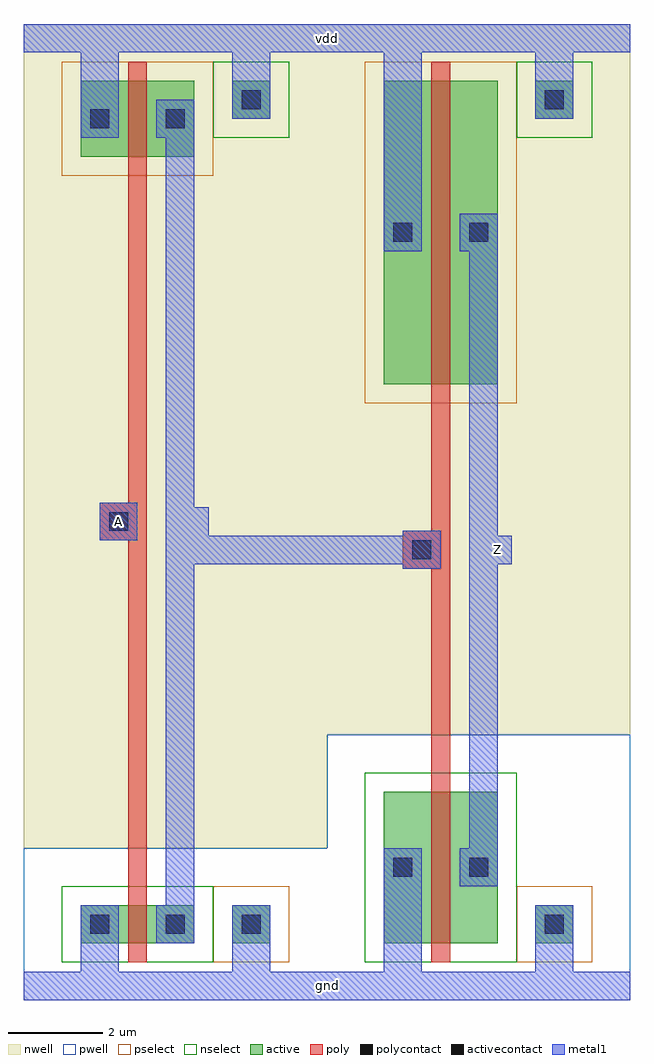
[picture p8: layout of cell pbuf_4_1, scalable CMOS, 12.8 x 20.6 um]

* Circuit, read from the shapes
.subckt pbuf_4_1 A Z gnd vdd
M1 pinv_13_1/A A gnd gnd nfet w=0.8u l=0.4u
M2 Z pinv_13_1/A gnd gnd nfet w=3.2u l=0.4u
M3 pinv_13_1/A A vdd vdd pfet w=1.6u l=0.4u
M4 Z pinv_13_1/A vdd vdd pfet w=6.4u l=0.4u
.ends

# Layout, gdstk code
import gdstk
lib = gdstk.Library(unit=1e-6, precision=1e-09)
def R(c, l, rs):  # rectangles x0, y0, x1, y1
    for r in rs: c.add(gdstk.rectangle(r[:2], r[2:], *l))
pwell = (41, 0)
nwell = (42, 0)
active = (43, 0)
pselect = (44, 0)
nselect = (45, 0)
poly = (46, 0)
polycontact = (47, 0)
activecontact = (48, 0)
metal1 = (49, 0)

active_contact_metal1_1x = lib.new_cell('active_contact_metal1_1x1_pn')
R(active_contact_metal1_1x, nwell, [(-1.2,-1.2,2,2)])
R(active_contact_metal1_1x, active, [(0,0,0.8,0.8)])
R(active_contact_metal1_1x, pselect, [(-0.4,-0.4,1.2,1.2)])
R(active_contact_metal1_1x, activecontact, [(0.2,0.2,0.6,0.6)])
R(active_contact_metal1_1x, metal1, [(0,0,0.8,0.8)])

pmos_m1_w1_6_a_p = lib.new_cell('pmos_m1_w1_6_a_p')
R(pmos_m1_w1_6_a_p, nwell, [(-1.2,-1.2,3.6,2.8)])
R(pmos_m1_w1_6_a_p, active, [(0,0,2.4,1.6)])
R(pmos_m1_w1_6_a_p, pselect, [(-0.4,-0.4,2.8,2)])
R(pmos_m1_w1_6_a_p, poly, [(1,-0.4,1.4,2), (1,-0.4,1.4,2)])
R(pmos_m1_w1_6_a_p, metal1, [(0,0.4,0.8,1.2), (1.6,0.4,2.4,1.2)])
pmos_m1_w1_6_a_p.add(gdstk.Reference(active_contact_metal1_1x, (0,0.4)))
pmos_m1_w1_6_a_p.add(gdstk.Reference(active_contact_metal1_1x, (1.6,0.4)))
pmos_m1_w1_6_a_p.add(gdstk.Label('G', (1.2,0.8), layer=46, texttype=0))
pmos_m1_w1_6_a_p.add(gdstk.Label('S', (0.4,0.8), layer=49, texttype=0))
pmos_m1_w1_6_a_p.add(gdstk.Label('D', (2,0.8), layer=49, texttype=0))

c_active_contact_metal1_1x = lib.new_cell('active_contact_metal1_1x1_np')
R(c_active_contact_metal1_1x, pwell, [(-1.2,-1.2,2,2)])
R(c_active_contact_metal1_1x, active, [(0,0,0.8,0.8)])
R(c_active_contact_metal1_1x, nselect, [(-0.4,-0.4,1.2,1.2)])
R(c_active_contact_metal1_1x, activecontact, [(0.2,0.2,0.6,0.6)])
R(c_active_contact_metal1_1x, metal1, [(0,0,0.8,0.8)])

nmos_m1_w0_8_a_p = lib.new_cell('nmos_m1_w0_8_a_p')
R(nmos_m1_w0_8_a_p, pwell, [(-1.2,-1.2,3.6,2)])
R(nmos_m1_w0_8_a_p, active, [(0,0,2.4,0.8)])
R(nmos_m1_w0_8_a_p, nselect, [(-0.4,-0.4,2.8,1.2)])
R(nmos_m1_w0_8_a_p, poly, [(1,-0.4,1.4,1.2), (1,-0.4,1.4,1.2)])
R(nmos_m1_w0_8_a_p, metal1, [(0,0,0.8,0.8), (1.6,0,2.4,0.8)])
nmos_m1_w0_8_a_p.add(gdstk.Reference(c_active_contact_metal1_1x, (0,0)))
nmos_m1_w0_8_a_p.add(gdstk.Reference(c_active_contact_metal1_1x, (1.6,0)))
nmos_m1_w0_8_a_p.add(gdstk.Label('G', (1.2,0.4), layer=46, texttype=0))
nmos_m1_w0_8_a_p.add(gdstk.Label('S', (0.4,0.4), layer=49, texttype=0))
nmos_m1_w0_8_a_p.add(gdstk.Label('D', (2,0.4), layer=49, texttype=0))

c_active_contact_metal1_1x_ = lib.new_cell('active_contact_metal1_1x1_nn')
R(c_active_contact_metal1_1x_, nwell, [(-1.2,-1.2,2,2)])
R(c_active_contact_metal1_1x_, active, [(0,0,0.8,0.8)])
R(c_active_contact_metal1_1x_, nselect, [(-0.4,-0.4,1.2,1.2)])
R(c_active_contact_metal1_1x_, activecontact, [(0.2,0.2,0.6,0.6)])
R(c_active_contact_metal1_1x_, metal1, [(0,0,0.8,0.8)])

c_active_contact_metal1_1x__ = lib.new_cell('active_contact_metal1_1x1_pp')
R(c_active_contact_metal1_1x__, pwell, [(-1.2,-1.2,2,2)])
R(c_active_contact_metal1_1x__, active, [(0,0,0.8,0.8)])
R(c_active_contact_metal1_1x__, pselect, [(-0.4,-0.4,1.2,1.2)])
R(c_active_contact_metal1_1x__, activecontact, [(0.2,0.2,0.6,0.6)])
R(c_active_contact_metal1_1x__, metal1, [(0,0,0.8,0.8)])

poly_contact_metal1_1x1 = lib.new_cell('poly_contact_metal1_1x1')
R(poly_contact_metal1_1x1, poly, [(0,0,0.8,0.8)])
R(poly_contact_metal1_1x1, polycontact, [(0.2,0.2,0.6,0.6)])
R(poly_contact_metal1_1x1, metal1, [(0,0,0.8,0.8)])

pinv_12 = lib.new_cell('pinv_12')
R(pinv_12, pwell, [(0,-0.3,6.4,2.9)])
R(pinv_12, nwell, [(0,2.9,6.4,20.3)])
R(pinv_12, poly, [(2.2,0.5,2.6,17.1), (2,9.4,2.2,10.2)])
R(pinv_12, metal1, [(0,-0.3,6.4,0.3), (1.2,-0.3,2,0.9), (4.4,0,5.2,1.3), (3,0.9,3.6,17.9), (1.6,9.4,2.4,10.2), (3.3,9.5,3.9,10.1), (1.2,17.9,2,20.3), (4.4,18.7,5.2,20), (0,19.7,6.4,20.3)])
pinv_12.add(gdstk.Reference(pmos_m1_w1_6_a_p, (1.2,17.5)))
pinv_12.add(gdstk.Reference(nmos_m1_w0_8_a_p, (1.2,0.9)))
pinv_12.add(gdstk.Reference(c_active_contact_metal1_1x_, (4.4,18.3)))
pinv_12.add(gdstk.Reference(c_active_contact_metal1_1x__, (4.4,0.9)))
pinv_12.add(gdstk.Reference(poly_contact_metal1_1x1, (1.6,9.4)))
pinv_12.add(gdstk.Label('gnd', (3.2,0), layer=49, texttype=0))
pinv_12.add(gdstk.Label('vdd', (3.2,20), layer=49, texttype=0))
pinv_12.add(gdstk.Label('A', (2,9.8), layer=49, texttype=0))
pinv_12.add(gdstk.Label('Z', (3.6,9.8), layer=49, texttype=0))

pmos_m1_w6_4_a_p = lib.new_cell('pmos_m1_w6_4_a_p')
R(pmos_m1_w6_4_a_p, nwell, [(-1.2,-1.2,3.6,7.6)])
R(pmos_m1_w6_4_a_p, active, [(0,0,2.4,6.4)])
R(pmos_m1_w6_4_a_p, pselect, [(-0.4,-0.4,2.8,6.8)])
R(pmos_m1_w6_4_a_p, poly, [(1,-0.4,1.4,6.8), (1,-0.4,1.4,6.8)])
R(pmos_m1_w6_4_a_p, metal1, [(0,2.8,0.8,3.6), (1.6,2.8,2.4,3.6)])
pmos_m1_w6_4_a_p.add(gdstk.Reference(active_contact_metal1_1x, (0,2.8)))
pmos_m1_w6_4_a_p.add(gdstk.Reference(active_contact_metal1_1x, (1.6,2.8)))
pmos_m1_w6_4_a_p.add(gdstk.Label('G', (1.2,3.2), layer=46, texttype=0))
pmos_m1_w6_4_a_p.add(gdstk.Label('S', (0.4,3.2), layer=49, texttype=0))
pmos_m1_w6_4_a_p.add(gdstk.Label('D', (2,3.2), layer=49, texttype=0))

nmos_m1_w3_2_a_p = lib.new_cell('nmos_m1_w3_2_a_p')
R(nmos_m1_w3_2_a_p, pwell, [(-1.2,-1.2,3.6,4.4)])
R(nmos_m1_w3_2_a_p, active, [(0,0,2.4,3.2)])
R(nmos_m1_w3_2_a_p, nselect, [(-0.4,-0.4,2.8,3.6)])
R(nmos_m1_w3_2_a_p, poly, [(1,-0.4,1.4,3.6), (1,-0.4,1.4,3.6)])
R(nmos_m1_w3_2_a_p, metal1, [(0,1.2,0.8,2), (1.6,1.2,2.4,2)])
nmos_m1_w3_2_a_p.add(gdstk.Reference(c_active_contact_metal1_1x, (0,1.2)))
nmos_m1_w3_2_a_p.add(gdstk.Reference(c_active_contact_metal1_1x, (1.6,1.2)))
nmos_m1_w3_2_a_p.add(gdstk.Label('G', (1.2,1.6), layer=46, texttype=0))
nmos_m1_w3_2_a_p.add(gdstk.Label('S', (0.4,1.6), layer=49, texttype=0))
nmos_m1_w3_2_a_p.add(gdstk.Label('D', (2,1.6), layer=49, texttype=0))

pinv_13 = lib.new_cell('pinv_13')
R(pinv_13, pwell, [(0,-0.3,6.4,5.3)])
R(pinv_13, nwell, [(0,5.3,6.4,20.3)])
R(pinv_13, poly, [(2.2,0.5,2.6,12.3), (2,8.8,2.2,9.6)])
R(pinv_13, metal1, [(0,-0.3,6.4,0.3), (1.2,-0.3,2,2.1), (4.4,0,5.2,1.3), (3,2.1,3.6,15.5), (1.6,8.8,2.4,9.6), (3.3,8.9,3.9,9.5), (1.2,15.5,2,20.3), (4.4,18.7,5.2,20), (0,19.7,6.4,20.3)])
pinv_13.add(gdstk.Reference(pmos_m1_w6_4_a_p, (1.2,12.7)))
pinv_13.add(gdstk.Reference(nmos_m1_w3_2_a_p, (1.2,0.9)))
pinv_13.add(gdstk.Reference(c_active_contact_metal1_1x_, (4.4,18.3)))
pinv_13.add(gdstk.Reference(c_active_contact_metal1_1x__, (4.4,0.9)))
pinv_13.add(gdstk.Reference(poly_contact_metal1_1x1, (1.6,8.8)))
pinv_13.add(gdstk.Label('gnd', (3.2,0), layer=49, texttype=0))
pinv_13.add(gdstk.Label('vdd', (3.2,20), layer=49, texttype=0))
pinv_13.add(gdstk.Label('A', (2,9.2), layer=49, texttype=0))
pinv_13.add(gdstk.Label('Z', (3.6,9.2), layer=49, texttype=0))

pbuf_4_1 = lib.new_cell('pbuf_4_1')
R(pbuf_4_1, metal1, [(0,-0.3,12.8,0.3), (3.3,8.9,3.9,9.5), (3.6,8.9,8.4,9.5), (9.7,8.9,10.3,9.5), (3.3,9.2,3.9,9.8), (1.6,9.4,2.4,10.2), (0,19.7,12.8,20.3)])
pbuf_4_1.add(gdstk.Reference(pinv_12, (0,0)))
pbuf_4_1.add(gdstk.Reference(pinv_13, (6.4,0)))
pbuf_4_1.add(gdstk.Label('vdd', (6.4,20), layer=49, texttype=0))
pbuf_4_1.add(gdstk.Label('gnd', (6.4,0), layer=49, texttype=0))
pbuf_4_1.add(gdstk.Label('Z', (10,9.2), layer=49, texttype=0))
pbuf_4_1.add(gdstk.Label('A', (2,9.8), layer=49, texttype=0))

lib.write_gds('pbuf_4_1.gds')
